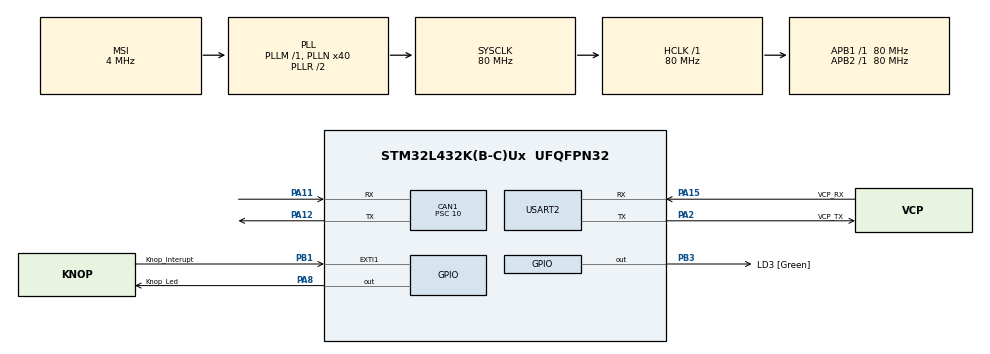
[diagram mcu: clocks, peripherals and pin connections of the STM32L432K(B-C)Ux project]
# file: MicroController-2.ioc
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CAN1.BS1=CAN_BS1_13TQ
CAN1.BS2=CAN_BS2_2TQ
CAN1.CalculateBaudRate=500000
CAN1.CalculateTimeBit=2000
CAN1.CalculateTimeQuantum=125.0
CAN1.Prescaler=10
Mcu.Family=STM32L4
Mcu.Name=STM32L432K(B-C)Ux
Mcu.Package=UFQFPN32
NVIC.CAN1_RX0_IRQn=true\:0\:0\:false\:false\:true\:true\:true\:true
NVIC.EXTI1_IRQn=true\:0\:0\:false\:false\:true\:true\:true\:true
NVIC.PriorityGroup=NVIC_PRIORITYGROUP_4
PA0.GPIO_Label=MCO [High speed clock in]
PA0.Mode=HSE-External-Clock-Source-for-LittleOrca
PA0.Signal=RCC_CK_IN
PA11.Mode=CAN_Activate
PA11.Signal=CAN1_RX
PA12.Mode=CAN_Activate
PA12.Signal=CAN1_TX
PA13\ (JTMS-SWDIO).GPIO_Label=SWDIO
PA13\ (JTMS-SWDIO).Mode=Serial_Wire
PA13\ (JTMS-SWDIO).Signal=SYS_JTMS-SWDIO
PA14\ (JTCK-SWCLK).GPIO_Label=SWCLK
PA14\ (JTCK-SWCLK).Mode=Serial_Wire
PA14\ (JTCK-SWCLK).Signal=SYS_JTCK-SWCLK
PA15\ (JTDI).GPIO_Label=VCP_RX
PA15\ (JTDI).Mode=Asynchronous
PA15\ (JTDI).Signal=USART2_RX
PA2.GPIO_Label=VCP_TX
PA2.Mode=Asynchronous
PA2.Signal=USART2_TX
PA8.GPIO_Label=Knop_Led
PA8.Signal=GPIO_Output
PB1.GPIO_Label=Knop_Interupt
PB1.GPIO_ModeDefaultEXTI=GPIO_MODE_IT_FALLING
PB1.GPIO_PuPd=GPIO_PULLUP
PB1.Signal=GPXTI1
PB3\ (JTDO-TRACESWO).GPIO_Label=LD3 [Green]
PB3\ (JTDO-TRACESWO).Signal=GPIO_Output
PC14-OSC32_IN\ (PC14).Mode=LSE-External-Oscillator
PC14-OSC32_IN\ (PC14).Signal=RCC_OSC32_IN
PC15-OSC32_OUT\ (PC15).Mode=LSE-External-Oscillator
PC15-OSC32_OUT\ (PC15).Signal=RCC_OSC32_OUT
ProjectManager.HeapSize=0x200
ProjectManager.StackSize=0x400
ProjectManager.TargetToolchain=STM32CubeIDE
RCC.AHBFreq_Value=80000000
RCC.APB1Freq_Value=80000000
RCC.APB1TimFreq_Value=80000000
RCC.APB2Freq_Value=80000000
RCC.APB2TimFreq_Value=80000000
RCC.CortexFreq_Value=80000000
RCC.HCLKFreq_Value=80000000
RCC.HSE_VALUE=8000000
RCC.HSI16_VALUE=16000000
RCC.HSI48_VALUE=48000000
RCC.HSI_VALUE=16000000
RCC.MSI_VALUE=4000000
RCC.PLLMUL=RCC_PLLMUL_4
RCC.PLLN=40
RCC.SYSCLKFreq_VALUE=80000000
RCC.SYSCLKSource=RCC_SYSCLKSOURCE_PLLCLK
RCC.VCOOutputFreq_Value=160000000
USART2.VirtualMode-Asynchronous=VM_ASYNC
board=NUCLEO-L432KC

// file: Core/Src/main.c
/* USER CODE BEGIN Header */
/**
  ******************************************************************************
  * @file           : main.c
  * @brief          : Main program body
  ******************************************************************************
  * @attention
  *
  * Copyright (c) 2026 STMicroelectronics.
  * All rights reserved.
  *
  * This software is licensed under terms that can be found in the LICENSE file
  * in the root directory of this software component.
  * If no LICENSE file comes with this software, it is provided AS-IS.
  *
  ******************************************************************************
  */
/* USER CODE END Header */
#include "main.h"

/* USER CODE BEGIN Includes */
#include <stdio.h>
#include <string.h>
/* USER CODE END Includes */

CAN_HandleTypeDef hcan1;

UART_HandleTypeDef huart2;

/* USER CODE BEGIN PV */
CAN_TxHeaderTypeDef TxHeader;
CAN_RxHeaderTypeDef RxHeader;
uint8_t TxData[8];
uint8_t RxData[8];
uint32_t TxMailbox;
uint8_t datacheck = 0;
uint8_t knopingedrukt = 0;
uint8_t AanOfUit = 0;

uint32_t lastInterruptTime = 0;
#define DEBOUNCE_DELAY 21
/* USER CODE END PV */

void SystemClock_Config(void);
static void MX_GPIO_Init(void);
static void MX_USART2_UART_Init(void);
static void MX_CAN1_Init(void);
/* USER CODE BEGIN PFP */
void SendCanMessage(int dataLength, uint64_t data);
/* USER CODE END PFP */

int main(void)
{

  /* MCU Configuration--------------------------------------------------------*/

  /* Reset of all peripherals, Initializes the Flash interface and the Systick. */
  HAL_Init();

  /* Configure the system clock */
  SystemClock_Config();

  /* Initialize all configured peripherals */
  MX_GPIO_Init();
  MX_USART2_UART_Init();
  MX_CAN1_Init();
  /* USER CODE BEGIN 2 */

  CAN_FilterTypeDef canfilterconfig;

  canfilterconfig.FilterActivation = CAN_FILTER_ENABLE;
  canfilterconfig.FilterBank = 0;  // which filter bank to use from the assigned ones
  canfilterconfig.FilterFIFOAssignment = CAN_FILTER_FIFO0;
  canfilterconfig.FilterIdHigh = 0x112<<5;
  canfilterconfig.FilterIdLow = 0;
  canfilterconfig.FilterMaskIdHigh = 0x7FF<<5;
  canfilterconfig.FilterMaskIdLow = 0x0000;
  canfilterconfig.FilterMode = CAN_FILTERMODE_IDMASK;
  canfilterconfig.FilterScale = CAN_FILTERSCALE_32BIT;
  canfilterconfig.SlaveStartFilterBank = 10;  // how many filters to assign to the CAN1 (master can)

  HAL_CAN_ConfigFilter(&hcan1, &canfilterconfig);

  if (HAL_CAN_Start(&hcan1) != HAL_OK) {
	  Error_Handler();
  }

  TxHeader.IDE = CAN_ID_STD;
  TxHeader.StdId = 0x113;
  TxHeader.RTR = CAN_RTR_DATA;
  TxHeader.DLC = 1;

  if (HAL_CAN_ActivateNotification(&hcan1, CAN_IT_RX_FIFO0_MSG_PENDING) != HAL_OK)
  {
	  Error_Handler();
  }
  HAL_Delay(100);
  /* USER CODE END 2 */

  /* Infinite loop */
  /* USER CODE BEGIN WHILE */
  while (1)
  {
	  if (knopingedrukt == 1) {

	      AanOfUit = !AanOfUit;

	      if (AanOfUit) {
	          uint64_t ZetAanIfUit = 0x01;
	          SendCanMessage(1, ZetAanIfUit);
	          HAL_GPIO_WritePin(Knop_Led_GPIO_Port, Knop_Led_Pin, GPIO_PIN_SET);
	      }
	      else {
	          uint64_t ZetAanIfUit = 0x02;
	          SendCanMessage(1, ZetAanIfUit);
	          HAL_GPIO_WritePin(Knop_Led_GPIO_Port, Knop_Led_Pin, GPIO_PIN_RESET);
	      }

	      knopingedrukt = 0;
	  }
    /* USER CODE END WHILE */

  }
}

void SystemClock_Config(void)
{
  RCC_OscInitTypeDef RCC_OscInitStruct = {0};
  RCC_ClkInitTypeDef RCC_ClkInitStruct = {0};

  /** Configure the main internal regulator output voltage
  */
  if (HAL_PWREx_ControlVoltageScaling(PWR_REGULATOR_VOLTAGE_SCALE1) != HAL_OK)
  {
    Error_Handler();
  }

  /** Configure LSE Drive Capability
  */
  HAL_PWR_EnableBkUpAccess();
  __HAL_RCC_LSEDRIVE_CONFIG(RCC_LSEDRIVE_LOW);

  /** Initializes the RCC Oscillators according to the specified parameters
  * in the RCC_OscInitTypeDef structure.
  */
  RCC_OscInitStruct.OscillatorType = RCC_OSCILLATORTYPE_LSE|RCC_OSCILLATORTYPE_MSI;
  RCC_OscInitStruct.LSEState = RCC_LSE_ON;
  RCC_OscInitStruct.MSIState = RCC_MSI_ON;
  RCC_OscInitStruct.MSICalibrationValue = 0;
  RCC_OscInitStruct.MSIClockRange = RCC_MSIRANGE_6;
  RCC_OscInitStruct.PLL.PLLState = RCC_PLL_ON;
  RCC_OscInitStruct.PLL.PLLSource = RCC_PLLSOURCE_MSI;
  RCC_OscInitStruct.PLL.PLLM = 1;
  RCC_OscInitStruct.PLL.PLLN = 40;
  RCC_OscInitStruct.PLL.PLLP = RCC_PLLP_DIV7;
  RCC_OscInitStruct.PLL.PLLQ = RCC_PLLQ_DIV2;
  RCC_OscInitStruct.PLL.PLLR = RCC_PLLR_DIV2;
  if (HAL_RCC_OscConfig(&RCC_OscInitStruct) != HAL_OK)
  {
    Error_Handler();
  }

  /** Initializes the CPU, AHB and APB buses clocks
  */
  RCC_ClkInitStruct.ClockType = RCC_CLOCKTYPE_HCLK|RCC_CLOCKTYPE_SYSCLK
                              |RCC_CLOCKTYPE_PCLK1|RCC_CLOCKTYPE_PCLK2;
  RCC_ClkInitStruct.SYSCLKSource = RCC_SYSCLKSOURCE_PLLCLK;
  RCC_ClkInitStruct.AHBCLKDivider = RCC_SYSCLK_DIV1;
  RCC_ClkInitStruct.APB1CLKDivider = RCC_HCLK_DIV1;
  RCC_ClkInitStruct.APB2CLKDivider = RCC_HCLK_DIV1;

  if (HAL_RCC_ClockConfig(&RCC_ClkInitStruct, FLASH_LATENCY_4) != HAL_OK)
  {
    Error_Handler();
  }

  /** Enable MSI Auto calibration
  */
  HAL_RCCEx_EnableMSIPLLMode();
}

static void MX_CAN1_Init(void)
{

  hcan1.Instance = CAN1;
  hcan1.Init.Prescaler = 10;
  hcan1.Init.Mode = CAN_MODE_NORMAL;
  hcan1.Init.SyncJumpWidth = CAN_SJW_1TQ;
  hcan1.Init.TimeSeg1 = CAN_BS1_13TQ;
  hcan1.Init.TimeSeg2 = CAN_BS2_2TQ;
  hcan1.Init.TimeTriggeredMode = DISABLE;
  hcan1.Init.AutoBusOff = DISABLE;
  hcan1.Init.AutoWakeUp = DISABLE;
  hcan1.Init.AutoRetransmission = DISABLE;
  hcan1.Init.ReceiveFifoLocked = DISABLE;
  hcan1.Init.TransmitFifoPriority = DISABLE;
  if (HAL_CAN_Init(&hcan1) != HAL_OK)
  {
    Error_Handler();
  }

}

static void MX_USART2_UART_Init(void)
{

  huart2.Instance = USART2;
  huart2.Init.BaudRate = 115200;
  huart2.Init.WordLength = UART_WORDLENGTH_8B;
  huart2.Init.StopBits = UART_STOPBITS_1;
  huart2.Init.Parity = UART_PARITY_NONE;
  huart2.Init.Mode = UART_MODE_TX_RX;
  huart2.Init.HwFlowCtl = UART_HWCONTROL_NONE;
  huart2.Init.OverSampling = UART_OVERSAMPLING_16;
  huart2.Init.OneBitSampling = UART_ONE_BIT_SAMPLE_DISABLE;
  huart2.AdvancedInit.AdvFeatureInit = UART_ADVFEATURE_NO_INIT;
  if (HAL_UART_Init(&huart2) != HAL_OK)
  {
    Error_Handler();
  }

}

static void MX_GPIO_Init(void)
{
  GPIO_InitTypeDef GPIO_InitStruct = {0};

  /* GPIO Ports Clock Enable */
  __HAL_RCC_GPIOC_CLK_ENABLE();
  __HAL_RCC_GPIOA_CLK_ENABLE();
  __HAL_RCC_GPIOB_CLK_ENABLE();

  /*Configure GPIO pin Output Level */
  HAL_GPIO_WritePin(Knop_Led_GPIO_Port, Knop_Led_Pin, GPIO_PIN_RESET);

  /*Configure GPIO pin Output Level */
  HAL_GPIO_WritePin(LD3_GPIO_Port, LD3_Pin, GPIO_PIN_RESET);

  /*Configure GPIO pin : Knop_Interupt_Pin */
  GPIO_InitStruct.Pin = Knop_Interupt_Pin;
  GPIO_InitStruct.Mode = GPIO_MODE_IT_FALLING;
  GPIO_InitStruct.Pull = GPIO_PULLUP;
  HAL_GPIO_Init(Knop_Interupt_GPIO_Port, &GPIO_InitStruct);

  /*Configure GPIO pin : Knop_Led_Pin */
  GPIO_InitStruct.Pin = Knop_Led_Pin;
  GPIO_InitStruct.Mode = GPIO_MODE_OUTPUT_PP;
  GPIO_InitStruct.Pull = GPIO_NOPULL;
  GPIO_InitStruct.Speed = GPIO_SPEED_FREQ_LOW;
  HAL_GPIO_Init(Knop_Led_GPIO_Port, &GPIO_InitStruct);

  /*Configure GPIO pin : LD3_Pin */
  GPIO_InitStruct.Pin = LD3_Pin;
  GPIO_InitStruct.Mode = GPIO_MODE_OUTPUT_PP;
  GPIO_InitStruct.Pull = GPIO_NOPULL;
  GPIO_InitStruct.Speed = GPIO_SPEED_FREQ_LOW;
  HAL_GPIO_Init(LD3_GPIO_Port, &GPIO_InitStruct);

  /* EXTI interrupt init*/
  HAL_NVIC_SetPriority(EXTI1_IRQn, 0, 0);
  HAL_NVIC_EnableIRQ(EXTI1_IRQn);

}

/* USER CODE BEGIN 4 */
void HAL_GPIO_EXTI_Callback(uint16_t GPIO_Pin)
{
    if(GPIO_Pin == Knop_Interupt_Pin)
    {
        uint32_t currentTime = HAL_GetTick();

        // debounce 200 ms
        if ((currentTime - lastInterruptTime) >= 200)
        {
            lastInterruptTime = currentTime;

            knopingedrukt = 1;   // 1 druk = 1 actie
        }
    }
}

void HAL_CAN_RxFifo0MsgPendingCallback(CAN_HandleTypeDef *hcan) {
  if (HAL_CAN_GetRxMessage(hcan, CAN_RX_FIFO0, &RxHeader, RxData) != HAL_OK) {
    Error_Handler();
  }
  if ((RxHeader.StdId == 0x112)) {
	  HAL_UART_Transmit(&huart2, (uint8_t*)"Test\r\n", 7, HAL_MAX_DELAY);
  }
}

void SendCanMessage(int dataLength, uint64_t data) {
	uint8_t tempData[8] = {
			data,
			data >> 8,
			data >> 16,
			data >> 24,
			data >> 32,
			data >> 40,
			data >> 48,
			data >> 56
	};
	int y = 0;
	for (int i = dataLength - 1; i >= 0 ; i--) {
		TxData[i] = tempData[y];
		y++;
	}
	TxHeader.DLC = dataLength;

	if (HAL_CAN_AddTxMessage(&hcan1, &TxHeader, TxData, &TxMailbox) != HAL_OK) {
		Error_Handler ();
	}
}

/* USER CODE END 4 */

void Error_Handler(void)
{
  __disable_irq();
  while (1)
  {
  }
}
